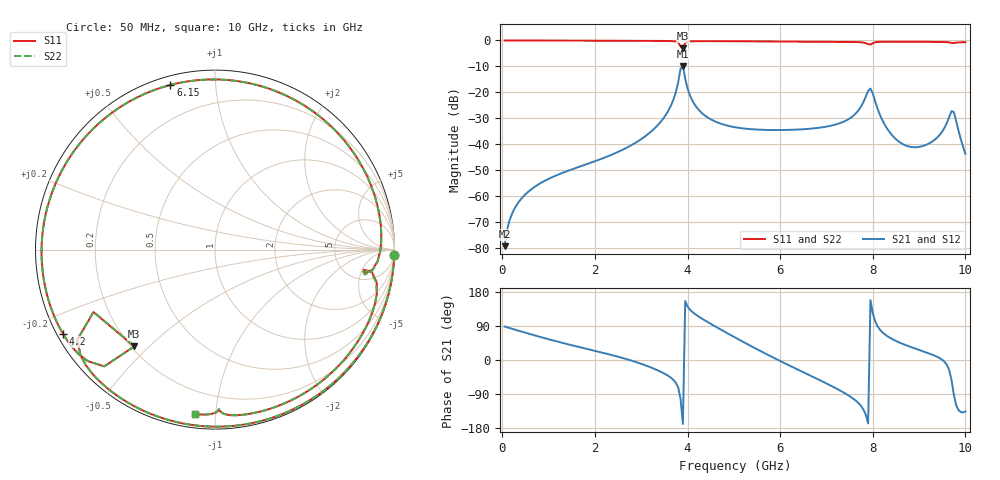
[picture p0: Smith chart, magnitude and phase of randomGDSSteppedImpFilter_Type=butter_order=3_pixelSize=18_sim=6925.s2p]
! freq	dB(S11)	phase(S11)	dB(S12)	phase(S12)
!  dB(S21)	phase(S21)	dB(S22)	phase(S22)
!S-par simulation data
#  GHz  S  DB  R 50
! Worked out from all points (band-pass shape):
!   200 points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, 50 MHz to 10 GHz, reference 50 ohm
!   highest |S21| = -9.87 dB at 3.9 GHz (marker M1); lowest = -79.1 dB at 50 MHz (marker M2)
!   |S21| within 3 dB of the highest: 3.83 GHz to 3.931 GHz (101.1 MHz wide, 2.61 % of centre)
!   lowest |S11| = -3.1 dB at 3.9 GHz (marker M3), VSWR 5.72, Z = 10.6 - j22.5 ohm
!   |S11| at or under -10 dB: nowhere
!   |S22| runs from -3.1 to 0.0 dB; largest |S21 - S12| = 0
!   S11 on the Smith chart (normalised r, x): 50 MHz: 1, -62; 4.2 GHz: 0.02, -0.26; 6.15 GHz: 0.04, +0.76; 10 GHz: 0.07, -0.89
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0.05  -0.00 -1.8  -79.13 88.3  -79.13 88.3  -0.00 -1.8
0.2  -0.01 -7.2  -67.10 82.7  -67.10 82.7  -0.01 -7.3
0.45  -0.02 -16.3  -60.09 73.7  -60.09 73.7  -0.02 -16.3
1.75  -0.08 -62.7  -48.04 31.5  -48.04 31.5  -0.08 -62.7
3.4  -0.18 -123.7  -31.73 -29.8  -31.73 -29.8  -0.18 -123.8
3.65  -0.25 -135.2  -24.74 -47.6  -24.74 -47.6  -0.25 -135.3
3.8  -0.75 -146.8  -15.93 -73.0  -15.93 -73.0  -0.75 -146.8
3.85  -2.37 -152.8  -10.77 -103.1  -10.77 -103.1  -2.38 -152.9
3.9  -3.07 -129.8  -9.87 -168.6  -9.87 -168.6  -3.09 -129.8
4  -0.51 -138.8  -18.43 141.4  -18.43 141.4  -0.51 -138.8
4.2  -0.28 -151.0  -25.80 117.9  -25.80 117.9  -0.28 -151.1
5.05  -0.32 168.2  -33.46 57.8  -33.46 57.8  -0.32 168.1
6.15  -0.44 105.2  -34.42 -11.7  -34.42 -11.7  -0.44 104.9
6.7  -0.48 68.8  -33.87 -44.0  -33.87 -44.0  -0.49 68.4
7.5  -0.56 15.6  -30.02 -95.5  -30.02 -95.5  -0.56 15.1
7.95  -1.56 -7.7  -18.50 157.7  -18.50 157.7  -1.62 -8.0
8.35  -0.48 -29.9  -34.94 60.2  -34.94 60.2  -0.48 -30.1
8.7  -0.50 -47.2  -40.32 39.9  -40.32 39.9  -0.50 -47.4
9.1  -0.53 -64.7  -40.50 22.5  -40.50 22.5  -0.53 -64.9
9.45  -0.59 -78.8  -36.22 4.6  -36.22 4.6  -0.59 -78.9
9.7  -0.93 -88.4  -27.18 -52.5  -27.18 -52.5  -0.96 -88.6
10  -0.69 -96.8  -43.60 -135.8  -43.60 -135.8  -0.70 -96.8
